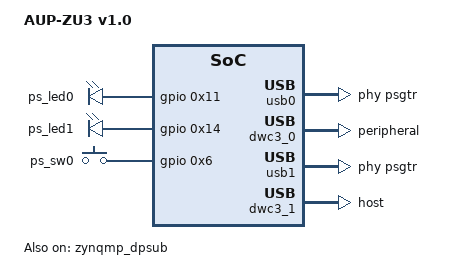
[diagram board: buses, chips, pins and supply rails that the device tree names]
// Copyright (C) 2025 Advanced Micro Devices, Inc.
// SPDX-License-Identifier: BSD-3-Clause

/include/ "system-conf.dtsi"
#include <dt-bindings/phy/phy.h>

/ {
	model ="AUP-ZU3 v1.0";
	
	dp_clk:psgtr_dp_clock {
		compatible = "fixed-clock";
		#clock-cells = <0x00>;
		clock-frequency = <27000000>;
	};

	usb_clk:psgtr_usb_clock {
		compatible = "fixed-clock";
		#clock-cells = <0x00>;
		clock-frequency = <100000000>;
	};
	
	leds {
		compatible = "gpio-leds";

		ps_led0 {
			label = "ps_led0";
			gpios = <&gpio 0x11 0x0>;
			linux,default-trigger = "heartbeat";
		};

		ps_led1 {
			label = "ps_led1";
			gpios = <&gpio 0x14 0x0>;
			default-state = "on";
		};
	};

	gpio-keys {
		compatible = "gpio-keys";
		autorepeat;

		ps_sw0 {
			label = "ps_sw0";
			gpios = <&gpio 0x6 0x0>;
			linux,code = <0x74>;
			gpio-key,wakeup;
		};
	};
};

&sdhci0 {
	no-1-8-v;
	disable-wp;
};

&psgtr {
      /* dp 0-1, usb0, usb1 */
      clocks = <&dp_clk>, <&usb_clk>;
      clock-names = "ref0", "ref1";
};

&zynqmp_dpsub {
	status = "okay";
	phys = <&psgtr 1 PHY_TYPE_DP 0 0>, <&psgtr 0 PHY_TYPE_DP 1 0>;
	phy-names = "dp-phy0", "dp-phy1";
};

&usb0 {
	/* USB Gadget*/
	status = "okay";
	phys = <&psgtr 2 PHY_TYPE_USB3 0 1>;
	phy-names = "usb3-phy";
};

&dwc3_0 {
	status = "okay";
	dr_mode = "peripheral";
	label = "USB Gadget";
	maximum-speed = "super-speed";
	snps,usb2-lpm-disable;
	snps,usb3_lpm_capable;
	snps,dis_u2_susphy_quirk;
	snps,dis_u3_susphy_quirk;
};

&usb1 {
	status = "okay";
	phys = <&psgtr 3 PHY_TYPE_USB3 1 1>;
	phy-names = "usb3-phy";
};

&dwc3_1 {
	status = "okay";
	dr_mode = "host";
	label = "USB Hub";
	maximum-speed = "super-speed";
	snps,usb2-lpm-disable;
	snps,usb3_lpm_capable;
	snps,dis_u2_susphy_quirk;
	snps,dis_u3_susphy_quirk;
};


